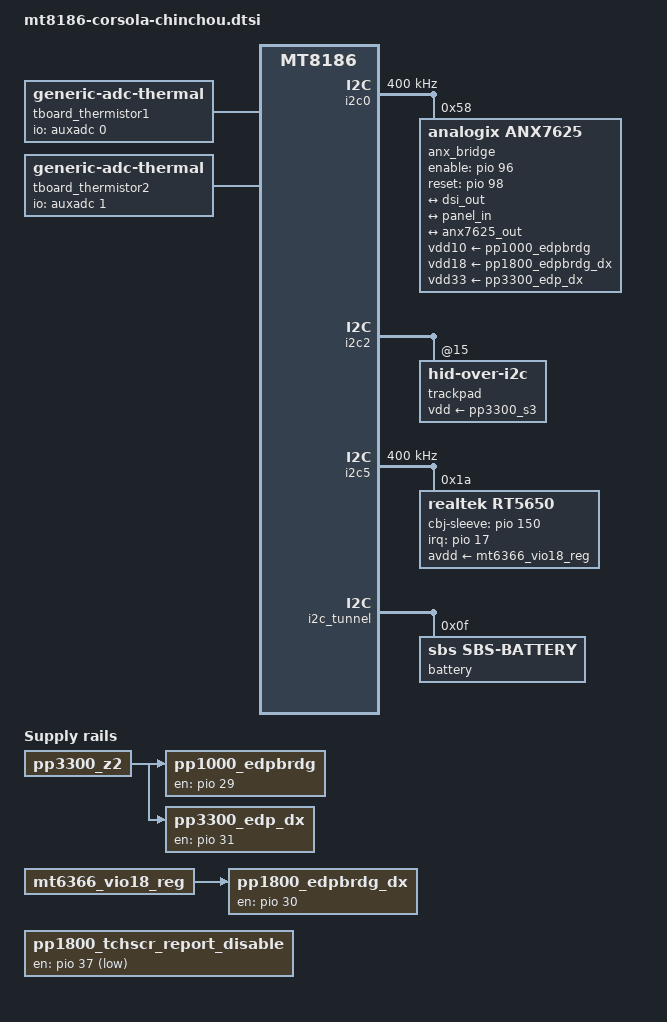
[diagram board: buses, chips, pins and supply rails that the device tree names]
// SPDX-License-Identifier: (GPL-2.0 OR MIT)
/*
 * Copyright 2023 Google LLC
 */

/dts-v1/;
#include "mt8186-corsola.dtsi"

/ {
	tboard_thermistor1: thermal-sensor1 {
		compatible = "generic-adc-thermal";
		#thermal-sensor-cells = <0>;
		io-channels = <&auxadc 0>;
		io-channel-names = "sensor-channel";
		temperature-lookup-table = <    (-5000) 1491
						0 1413
						5000 1324
						10000 1225
						15000 1120
						20000 1012
						25000 900
						30000 797
						35000 698
						40000 607
						45000 525
						50000 451
						55000 386
						60000 330
						65000 282
						70000 241
						75000 206
						80000 176
						85000 151
						90000 129
						95000 111
						100000 96
						105000 83
						110000 72
						115000 62
						120000 54
						125000 47>;
	};

	tboard_thermistor2: thermal-sensor2 {
		compatible = "generic-adc-thermal";
		#thermal-sensor-cells = <0>;
		io-channels = <&auxadc 1>;
		io-channel-names = "sensor-channel";
		temperature-lookup-table = <    (-5000) 1491
						0 1413
						5000 1324
						10000 1225
						15000 1120
						20000 1012
						25000 900
						30000 797
						35000 698
						40000 607
						45000 525
						50000 451
						55000 386
						60000 330
						65000 282
						70000 241
						75000 206
						80000 176
						85000 151
						90000 129
						95000 111
						100000 96
						105000 83
						110000 72
						115000 62
						120000 54
						125000 47>;
	};

	pp1800_tchscr_report_disable: regulator-pp1800-tchscr-report-disable {
		compatible = "regulator-fixed";
		regulator-name = "pp1800_tchscr_report_disable";
		pinctrl-names = "default";
		enable-active-low;
		regulator-boot-on;
		pinctrl-0 = <&touch_pin_report>;
		gpio = <&pio 37 GPIO_ACTIVE_LOW>;
	};

	pp1000_edpbrdg: regulator-pp1000-edpbrdg {
		compatible = "regulator-fixed";
		regulator-name = "pp1000_edpbrdg";
		pinctrl-names = "default";
		pinctrl-0 = <&en_pp1000_edpbrdg>;
		enable-active-high;
		regulator-boot-on;
		gpio = <&pio 29 GPIO_ACTIVE_HIGH>;
		vin-supply = <&pp3300_z2>;
	};

	pp1800_edpbrdg_dx: regulator-pp1800-edpbrdg-dx {
		compatible = "regulator-fixed";
		regulator-name = "pp1800_edpbrdg_dx";
		pinctrl-names = "default";
		pinctrl-0 = <&en_pp1800_edpbrdg>;
		enable-active-high;
		regulator-boot-on;
		gpio = <&pio 30 GPIO_ACTIVE_HIGH>;
		vin-supply = <&mt6366_vio18_reg>;
	};

	pp3300_edp_dx: regulator-pp3300-edp-dx {
		compatible = "regulator-fixed";
		regulator-name = "pp3300_edp_dx";
		pinctrl-names = "default";
		pinctrl-0 = <&en_pp3300_edpbrdg>;
		enable-active-high;
		regulator-boot-on;
		gpio = <&pio 31 GPIO_ACTIVE_HIGH>;
		vin-supply = <&pp3300_z2>;
	};
};

&rt5682s {
	status = "disabled";
};

&rt1019p {
	status = "disabled";
};

&dsi_out {
	remote-endpoint = <&anx7625_in>;
};

&i2c0 {
	clock-frequency = <400000>;

	anx_bridge: anx7625@58 {
		compatible = "analogix,anx7625";
		reg = <0x58>;
		pinctrl-names = "default";
		pinctrl-0 = <&anx7625_pins>;
		panel_flags = <1>;
		enable-gpios = <&pio 96 GPIO_ACTIVE_HIGH>;
		reset-gpios = <&pio 98 GPIO_ACTIVE_HIGH>;
		vdd10-supply = <&pp1000_edpbrdg>;
		vdd18-supply = <&pp1800_edpbrdg_dx>;
		vdd33-supply = <&pp3300_edp_dx>;
		#address-cells = <1>;
		#size-cells = <0>;
		analogix,lane0-swing = /bits/ 8 <0x70 0x30>;
		analogix,lane1-swing = /bits/ 8 <0x70 0x30>;

		port@0 {
			reg = <0>;

			anx7625_in: endpoint {
				remote-endpoint = <&dsi_out>;
				data-lanes = <0 1 2 3>;
			};
		};

		port@1 {
			reg = <1>;

			anx7625_out: endpoint {
				remote-endpoint = <&panel_in>;
			};
		};

		aux-bus {
			panel: panel {
				compatible = "edp-panel";
				power-supply = <&pp3300_disp_x>;
				backlight = <&backlight_lcd0>;

				port {
					panel_in: endpoint {
						remote-endpoint = <&anx7625_out>;
					};
				};
			};
		};
	};
};

&i2c2 {
	trackpad@15 {
		compatible = "hid-over-i2c";
		post-power-on-delay-ms = <10>;
		hid-descr-addr = <0x0001>;
		vdd-supply = <&pp3300_s3>;
	};
};

&i2c5 {
	clock-frequency = <400000>;

	rt5650: rt5650@1a {
		compatible = "realtek,rt5650";
		reg = <0x1a>;
		avdd-supply = <&mt6366_vio18_reg>;
		pinctrl-names = "default";
		pinctrl-0 = <&rt1019p_pins_default>;
		cbj-sleeve-gpio = <&pio 150 GPIO_ACTIVE_HIGH>;
		interrupt-parent = <&pio>;
		interrupts = <17 IRQ_TYPE_EDGE_BOTH>;
		#sound-dai-cells = <0>;
		realtek,dmic1-data-pin = <2>;
		realtek,jd-mode = <2>;
	};
};

&mmc1_pins_default {
	pins-clk {
		drive-strength = <MTK_DRIVE_8mA>;
	};

	pins-cmd-dat {
		drive-strength = <MTK_DRIVE_8mA>;
	};
};

&mmc1_pins_uhs {
	pins-clk {
		drive-strength = <MTK_DRIVE_8mA>;
	};

	pins-cmd-dat {
		drive-strength = <MTK_DRIVE_8mA>;
	};
};

&sound {
	status = "okay";

	compatible = "mediatek,mt8186-mt6366-rt5650-sound";
	mediatek,adsp = <&adsp>;

	audio-routing =
		"Headphone", "HPOL",
		"Headphone", "HPOR",
		"HDMI1", "TX";

	hs-playback-dai-link {
		codec {
			sound-dai = <&rt5650>;
		};
	};

	hs-capture-dai-link {
		codec {
			sound-dai = <&rt5650>;
		};
	};

	spk-share-dai-link {
	};

	spk-hdmi-playback-dai-link {
		codec {
			sound-dai = <&it6505dptx>;
		};
	};
};

&wifi_enable_pin {
	pins-wifi-enable {
		pinmux = <PINMUX_GPIO51__FUNC_GPIO51>;
	};
};

&wifi_pwrseq {
	reset-gpios = <&pio 51 GPIO_ACTIVE_LOW>;
};

&keyboard_controller {
	keypad,num-columns = <15>;

	function-row-physmap = <
		MATRIX_KEY(0x00, 0x02, 0)        /* T1 */
		MATRIX_KEY(0x03, 0x02, 0)        /* T2 */
		MATRIX_KEY(0x02, 0x02, 0)        /* T3 */
		MATRIX_KEY(0x01, 0x02, 0)        /* T4 */
		MATRIX_KEY(0x03, 0x04, 0)        /* T5 */
		MATRIX_KEY(0x02, 0x04, 0)        /* T6 */
		MATRIX_KEY(0x01, 0x04, 0)        /* T7 */
		MATRIX_KEY(0x02, 0x09, 0)        /* T8 */
		MATRIX_KEY(0x01, 0x09, 0)        /* T9 */
		MATRIX_KEY(0x00, 0x04, 0)        /* T10 */
		MATRIX_KEY(0x00, 0x01, 0)        /* T11 */
		MATRIX_KEY(0x01, 0x05, 0)        /* T12 */
	>;

	linux,keymap = <
		CROS_STD_MAIN_KEYMAP
		MATRIX_KEY(0x00, 0x02, KEY_BACK)           /* T1 */
		MATRIX_KEY(0x03, 0x02, KEY_REFRESH)        /* T2 */
		MATRIX_KEY(0x02, 0x02, KEY_ZOOM)           /* T3 */
		MATRIX_KEY(0x01, 0x02, KEY_SCALE)          /* T4 */
		MATRIX_KEY(0x03, 0x04, KEY_SYSRQ)          /* T5 */
		MATRIX_KEY(0x02, 0x04, KEY_BRIGHTNESSDOWN) /* T6 */
		MATRIX_KEY(0x01, 0x04, KEY_BRIGHTNESSUP)   /* T7 */
		MATRIX_KEY(0x02, 0x09, KEY_MUTE)           /* T8 */
		MATRIX_KEY(0x01, 0x09, KEY_VOLUMEDOWN)	   /* T9 */
		MATRIX_KEY(0x00, 0x04, KEY_VOLUMEUP)	   /* T10 */
		MATRIX_KEY(0x00, 0x01, KEY_MICMUTE)        /* T11 */
		MATRIX_KEY(0x01, 0x05, KEY_CONTROLPANEL)   /* T12 */
		MATRIX_KEY(0x03, 0x05, KEY_PREVIOUSSONG)   /* T13 */
		MATRIX_KEY(0x00, 0x09, KEY_PLAYPAUSE)	   /* T14 */
		MATRIX_KEY(0x00, 0x0b, KEY_NEXTSONG)	   /* T15 */
		MATRIX_KEY(0x03, 0x00, KEY_LEFTMETA)	   /* Search*/
		MATRIX_KEY(0x01, 0x0e, KEY_LEFTCTRL)	   /* Left Control*/
		MATRIX_KEY(0x06, 0x0d, KEY_LEFTALT)        /* Left ALT*/
		MATRIX_KEY(0x03, 0x0e, KEY_RIGHTCTRL)      /* Right Control*/
		MATRIX_KEY(0x06, 0x0a, KEY_BACKSLASH)      /* BACKSLASH*/
	>;
};

&thermal_zones {
	cpu-ntc {
		polling-delay = <1000>; /* milliseconds */
		polling-delay-passive = <0>; /* milliseconds */
		thermal-sensors = <&tboard_thermistor1>;
	};

	pmic-ntc {
		polling-delay = <1000>; /* milliseconds */
		polling-delay-passive = <50>; /* milliseconds */
		thermal-sensors = <&tboard_thermistor2>;
		sustainable-power = <1500>;

		trips {
			pmic_temp_alert0: trip-point@0 {
				temperature = <50000>;
				hysteresis = <2000>;
				type = "passive";
			};

			pmic_temp_alert1: target@1 {
				temperature = <60000>;
				hysteresis = <2000>;
				type = "passive";
			};

			pmic_ntc_crit: pmic-ntc-crit@0 {
				temperature = <80000>;
				hysteresis = <2000>;
				type = "critical";
			};
		};

		cooling-maps {
			map0 {
				trip = <&pmic_temp_alert1>;
				cooling-device = <&cpu0
					THERMAL_NO_LIMIT
					THERMAL_NO_LIMIT>,
						<&cpu1
					THERMAL_NO_LIMIT
					THERMAL_NO_LIMIT>,
						<&cpu2
					THERMAL_NO_LIMIT
					THERMAL_NO_LIMIT>,
						<&cpu3
					THERMAL_NO_LIMIT
					THERMAL_NO_LIMIT>,
						<&cpu4
					THERMAL_NO_LIMIT
					THERMAL_NO_LIMIT>,
						<&cpu5
					THERMAL_NO_LIMIT
					THERMAL_NO_LIMIT>;
				contribution = <4096>;
			};

			map1 {
				trip = <&pmic_temp_alert1>;
				cooling-device = <&cpu6
					THERMAL_NO_LIMIT
					THERMAL_NO_LIMIT>,
						<&cpu7
					THERMAL_NO_LIMIT
					THERMAL_NO_LIMIT>;
				contribution = <1024>;
			};
		};
	};
};

&pio {
	touch_pin_report: pin-report {
		pinmux = <PINMUX_GPIO37__FUNC_GPIO37>;
		output-low;
	};

	anx7625_pins: anx7625-pins {
		pins1 {
			pinmux = <PINMUX_GPIO96__FUNC_GPIO96>,
			<PINMUX_GPIO98__FUNC_GPIO98>;
			output-low;
		};

		pins2 {
			pinmux = <PINMUX_GPIO9__FUNC_GPIO9>;
			input-enable;
			bias-pull-up;
		};
	};

	en_pp1000_edpbrdg: pp1000-edpbrdg-en-pins {
		pins-vreg-en {
			pinmux = <PINMUX_GPIO29__FUNC_GPIO29>;
			output-low;
		};
	};

	en_pp1800_edpbrdg: pp1800-edpbrdg-en-pins {
		pins-vreg-en {
			pinmux = <PINMUX_GPIO30__FUNC_GPIO30>;
			output-low;
		};
	};

	en_pp3300_edpbrdg: pp3300-edpbrdg-en-pins {
		pins-vreg-en {
			pinmux = <PINMUX_GPIO31__FUNC_GPIO31>;
			output-low;
		};
	};
};

&i2c_tunnel {
	/delete-node/ sbs-battery@b;

	battery: sbs-battery@f {
		compatible = "sbs,sbs-battery";
		reg = <0xf>;
		sbs,i2c-retry-count = <2>;
		sbs,poll-retry-count = <1>;
	};
};

&pen_insert {
	wakeup-event-action = <EV_ACT_ANY>;
};
